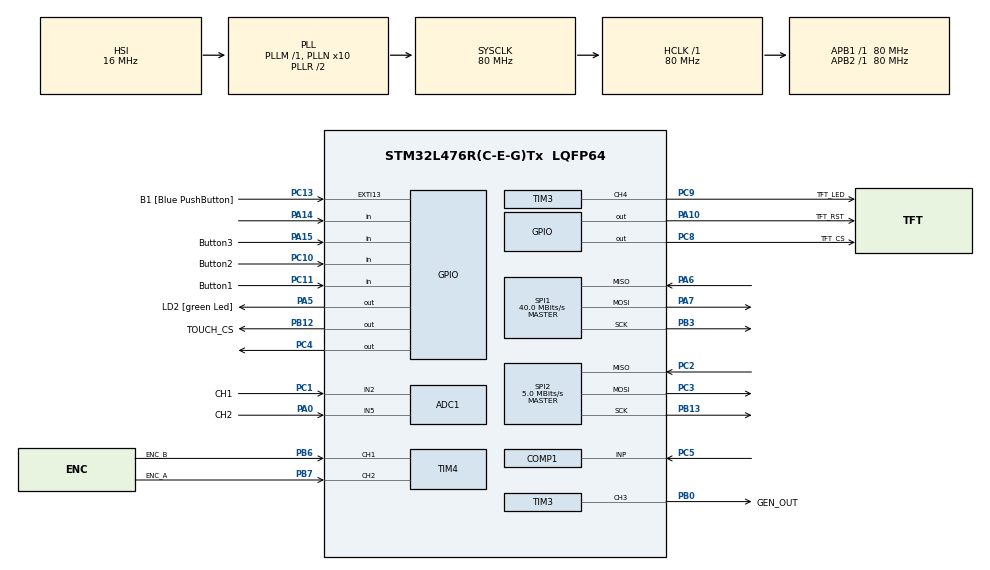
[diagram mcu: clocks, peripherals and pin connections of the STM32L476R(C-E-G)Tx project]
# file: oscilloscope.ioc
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ADC1.Channel-2\#ChannelRegularConversion=ADC_CHANNEL_2
ADC1.ClockPrescaler=ADC_CLOCK_ASYNC_DIV1
ADC1.ContinuousConvMode=ENABLE
ADC1.DMAContinuousRequests=ENABLE
ADC1.NbrOfConversionFlag=1
ADC1.OffsetNumber-2\#ChannelRegularConversion=ADC_OFFSET_NONE
ADC1.Rank-2\#ChannelRegularConversion=1
ADC1.SamplingTime-2\#ChannelRegularConversion=ADC_SAMPLETIME_2CYCLES_5
ADC1.master=1
COMP1.TriggerMode=COMP_TRIGGERMODE_IT_RISING
Dma.ADC1.1.Direction=DMA_PERIPH_TO_MEMORY
Dma.ADC1.1.Instance=DMA2_Channel3
Dma.ADC1.1.MemDataAlignment=DMA_MDATAALIGN_HALFWORD
Dma.ADC1.1.MemInc=DMA_MINC_ENABLE
Dma.ADC1.1.Mode=DMA_CIRCULAR
Dma.ADC1.1.PeriphDataAlignment=DMA_PDATAALIGN_HALFWORD
Dma.ADC1.1.PeriphInc=DMA_PINC_DISABLE
Dma.ADC1.1.Priority=DMA_PRIORITY_LOW
Dma.Request0=SPI1_TX
Dma.Request1=ADC1
Dma.SPI1_TX.0.Direction=DMA_MEMORY_TO_PERIPH
Dma.SPI1_TX.0.Instance=DMA1_Channel3
Dma.SPI1_TX.0.MemDataAlignment=DMA_MDATAALIGN_BYTE
Dma.SPI1_TX.0.MemInc=DMA_MINC_ENABLE
Dma.SPI1_TX.0.Mode=DMA_NORMAL
Dma.SPI1_TX.0.PeriphDataAlignment=DMA_PDATAALIGN_BYTE
Dma.SPI1_TX.0.PeriphInc=DMA_PINC_DISABLE
Dma.SPI1_TX.0.Priority=DMA_PRIORITY_LOW
Mcu.Family=STM32L4
Mcu.Name=STM32L476R(C-E-G)Tx
Mcu.Package=LQFP64
NVIC.COMP_IRQn=true\:0\:0\:false\:false\:true\:false\:true
NVIC.DMA1_Channel3_IRQn=true\:0\:0\:false\:false\:true\:false\:true
NVIC.DMA2_Channel3_IRQn=true\:0\:0\:false\:false\:true\:false\:true
NVIC.PriorityGroup=NVIC_PRIORITYGROUP_4
NVIC.SPI1_IRQn=true\:0\:0\:false\:false\:true\:true\:true
PA0.GPIO_Label=CH2
PA0.Signal=ADCx_IN5
PA10.GPIO_Label=TFT_RST
PA10.GPIO_Speed=GPIO_SPEED_FREQ_VERY_HIGH
PA10.Signal=GPIO_Output
PA14\ (JTCK-SWCLK).Signal=GPIO_Input
PA15\ (JTDI).GPIO_Label=Button3
PA15\ (JTDI).Signal=GPIO_Input
PA5.GPIO_Label=LD2 [green Led]
PA5.GPIO_ModeDefaultOutputPP=GPIO_MODE_OUTPUT_PP
PA5.GPIO_PuPd=GPIO_NOPULL
PA5.GPIO_Speed=GPIO_SPEED_FREQ_LOW
PA5.Signal=GPIO_Output
PA6.Mode=Full_Duplex_Master
PA6.Signal=SPI1_MISO
PA7.Mode=Full_Duplex_Master
PA7.Signal=SPI1_MOSI
PB0.GPIO_Label=GEN_OUT
PB0.Signal=S_TIM3_CH3
PB12.GPIO_Label=TOUCH_CS
PB12.Signal=GPIO_Output
PB13.Mode=Full_Duplex_Master
PB13.Signal=SPI2_SCK
PB3\ (JTDO-TRACESWO).Mode=Full_Duplex_Master
PB3\ (JTDO-TRACESWO).Signal=SPI1_SCK
PB6.GPIO_Label=ENC_B
PB6.Signal=S_TIM4_CH1
PB7.GPIO_Label=ENC_A
PB7.Signal=S_TIM4_CH2
PC1.GPIO_Label=CH1
PC1.Signal=ADCx_IN2
PC10.GPIO_Label=Button2
PC10.Signal=GPIO_Input
PC11.GPIO_Label=Button1
PC11.Signal=GPIO_Input
PC13.GPIO_Label=B1 [Blue PushButton]
PC13.GPIO_ModeDefaultEXTI=GPIO_MODE_IT_FALLING
PC13.GPIO_PuPd=GPIO_NOPULL
PC13.Signal=GPXTI13
PC2.Mode=Full_Duplex_Master
PC2.Signal=SPI2_MISO
PC3.Mode=Full_Duplex_Master
PC3.Signal=SPI2_MOSI
PC4.Signal=GPIO_Output
PC5.Mode=INP
PC5.Signal=COMP1_INP
PC8.GPIO_Label=TFT_CS
PC8.GPIO_Speed=GPIO_SPEED_FREQ_VERY_HIGH
PC8.Signal=GPIO_Output
PC9.GPIO_Label=TFT_LED
PC9.Signal=S_TIM3_CH4
ProjectManager.HeapSize=0x200
ProjectManager.StackSize=0x400
ProjectManager.TargetToolchain=STM32CubeIDE
RCC.ADCFreq_Value=64000000
RCC.AHBFreq_Value=80000000
RCC.APB1Freq_Value=80000000
RCC.APB1TimFreq_Value=80000000
RCC.APB2Freq_Value=80000000
RCC.APB2TimFreq_Value=80000000
RCC.CortexFreq_Value=80000000
RCC.HCLKFreq_Value=80000000
RCC.HSE_VALUE=8000000
RCC.HSI_VALUE=16000000
RCC.LSE_VALUE=32768
RCC.MSI_VALUE=4000000
RCC.PLLN=10
RCC.PLLSourceVirtual=RCC_PLLSOURCE_HSI
RCC.PREFETCH_ENABLE=1
RCC.SYSCLKFreq_VALUE=80000000
RCC.SYSCLKSource=RCC_SYSCLKSOURCE_PLLCLK
RCC.USBFreq_Value=64000000
RCC.VCOOutputFreq_Value=160000000
SH.ADCx_IN2.0=ADC1_IN2,IN2-Single-Ended
SH.ADCx_IN5.0=ADC1_IN5,IN5-Single-Ended
SH.S_TIM3_CH3.0=TIM3_CH3,PWM Generation3 CH3
SH.S_TIM3_CH4.0=TIM3_CH4,PWM Generation4 CH4
SH.S_TIM4_CH1.0=TIM4_CH1,Encoder_Interface
SH.S_TIM4_CH2.0=TIM4_CH2,Encoder_Interface
SPI1.BaudRatePrescaler=SPI_BAUDRATEPRESCALER_2
SPI1.CalculateBaudRate=40.0 MBits/s
SPI1.DataSize=SPI_DATASIZE_8BIT
SPI1.Direction=SPI_DIRECTION_2LINES
SPI1.Mode=SPI_MODE_MASTER
SPI1.VirtualType=VM_MASTER
SPI2.BaudRatePrescaler=SPI_BAUDRATEPRESCALER_16
SPI2.CalculateBaudRate=5.0 MBits/s
SPI2.DataSize=SPI_DATASIZE_8BIT
SPI2.Direction=SPI_DIRECTION_2LINES
SPI2.Mode=SPI_MODE_MASTER
SPI2.VirtualType=VM_MASTER
TIM3.AutoReloadPreload=TIM_AUTORELOAD_PRELOAD_ENABLE
TIM3.Channel-PWM\ Generation3\ CH3=TIM_CHANNEL_3
TIM3.Channel-PWM\ Generation4\ CH4=TIM_CHANNEL_4
TIM3.Period=999
TIM3.Prescaler=79
VP_COMP1_VS_DACOUT1.Mode=INM_DACOUT1
VP_DAC1_VS_DACI1.Mode=DAC_OUT1_Int
board=NUCLEO-L476RG

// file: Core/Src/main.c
/* USER CODE BEGIN Header */
/**
  ******************************************************************************
  * @file           : main.c
  * @brief          : Main program body
  ******************************************************************************
  * @attention
  *
  * <h2><center>&copy; Copyright (c) 2024 STMicroelectronics.
  * All rights reserved.</center></h2>
  *
  * This software component is licensed by ST under BSD 3-Clause license,
  * the "License"; You may not use this file except in compliance with the
  * License. You may obtain a copy of the License at:
  *                        opensource.org/licenses/BSD-3-Clause
  *
  ******************************************************************************
  */
/* USER CODE END Header */
#include "main.h"
#include "adc.h"
#include "comp.h"
#include "dac.h"
#include "dma.h"
#include "spi.h"
#include "tim.h"
#include "gpio.h"

/* USER CODE BEGIN Includes */
#include "ili9488.h"
#include "xpt2046.h"
#include "stdio.h"

#include "008_Open_Sans_Bold.h"
#include "009_Open_Sans_Bold.h"
#include "010_Open_Sans_Bold.h"
#include "012_Open_Sans_Bold.h"
#include "014_Open_Sans_Bold.h"
#include "016_Open_Sans_Bold.h"
#include "018_Open_Sans_Bold.h"
#include "020_Open_Sans_Bold.h"
#include "022_Open_Sans_Bold.h"
#include "024_Open_Sans_Bold.h"
#include "026_Open_Sans_Bold.h"
#include "028_Open_Sans_Bold.h"
#include "036_Open_Sans_Bold.h"
#include "048_Open_Sans_Bold.h"
#include "072_Open_Sans_Bold.h"
#include "096_Open_Sans_Bold.h"
#include "112_Open_Sans_Bold.h"
#include "128_Open_Sans_Bold.h"
/* USER CODE END Includes */

/* USER CODE BEGIN PD */
#define _Open_Sans_Bold_8      &Open_Sans_Bold_8
#define _Open_Sans_Bold_9      &Open_Sans_Bold_9
#define _Open_Sans_Bold_10     &Open_Sans_Bold_10
#define _Open_Sans_Bold_11     &Open_Sans_Bold_11
#define _Open_Sans_Bold_12      &Open_Sans_Bold_12
#define _Open_Sans_Bold_14      &Open_Sans_Bold_14
#define _Open_Sans_Bold_16      &Open_Sans_Bold_16
#define _Open_Sans_Bold_18      &Open_Sans_Bold_18
#define _Open_Sans_Bold_20      &Open_Sans_Bold_20
#define _Open_Sans_Bold_22      &Open_Sans_Bold_22
#define _Open_Sans_Bold_24      &Open_Sans_Bold_24
#define _Open_Sans_Bold_26      &Open_Sans_Bold_26
#define _Open_Sans_Bold_28      &Open_Sans_Bold_28
#define _Open_Sans_Bold_36      &Open_Sans_Bold_36
#define _Open_Sans_Bold_48      &Open_Sans_Bold_48
#define _Open_Sans_Bold_72      &Open_Sans_Bold_72
#define _Open_Sans_Bold_96      &Open_Sans_Bold_96
#define _Open_Sans_Bold_112      &Open_Sans_Bold_112
#define _Open_Sans_Bold_128      &Open_Sans_Bold_128

#define LCD_WIDTH 480
#define LCD_HEIGHT 320
#define LCD_BRIGHTNESS 800 // 0-1000

#define CANVA_MIDDLE_V 170

#define MEMORY_DEPTH  480//512
/* USER CODE END PD */

/* USER CODE BEGIN PV */
volatile uint8_t SPI1_TX_completed_flag = 1;

typedef struct oscilloscope_ch{
	uint16_t waveform[MEMORY_DEPTH];				// all samples

	int16_t x_offset;								// horizontal offset
	int16_t y_offset;								// vertical offset (offset = 0 => 0V = middle of the display)

	int16_t y_scale;								// vertical scale [V/div]

	uint16_t waveform_display[LCD_WIDTH];			// section of waveform currently displayed
	uint16_t waveform_display_previous[LCD_WIDTH];	// section of waveform previously displayed, used to clear old waveform

}oscilloscope_channel;

static int conv_done = 0;

//uint8_t  image [90000];
/* USER CODE END PV */

void SystemClock_Config(void);

/* USER CODE BEGIN 0 */
void HAL_SPI_TxCpltCallback(SPI_HandleTypeDef *hspi)
{
	SPI1_TX_completed_flag = 1;
}

oscilloscope_channel_init(oscilloscope_channel* ch){
	ch->x_offset = 0;
	ch->y_offset = 0;
	ch->y_scale = 0;
}

void drawGrid(){
	// vertical lines
	for(int i = 0; i < 480; i+=60){
		for(int j = 20; j < 320; j+=2)
			drawPixel(i, j, ILI9488_DARKGREY);
	}
	for(int j = 20; j < 320; j+=2)
				drawPixel(479, j, ILI9488_DARKGREY);

	// horizontal lines
	for(int i = 20; i < 320; i+=60){
		for(int j = 0; j < 480; j+=2)
			drawPixel(j, i, ILI9488_DARKGREY);
	}
	for(int j = 0; j < 480; j+=2)
				drawPixel(j, 319, ILI9488_DARKGREY);
}

void erase_waveform(uint16_t waveform[MEMORY_DEPTH], uint x){
	for(int i = 0; i < 480; ++i){
			drawPixel(i, CANVA_MIDDLE_V - x - waveform[i]/40, BLACK);
		if((i%2==0) || (i ==479)){
			if(((CANVA_MIDDLE_V - x - waveform[i]/40) == 20) ||
			   ((CANVA_MIDDLE_V - x - waveform[i]/40) == 80) ||
			   ((CANVA_MIDDLE_V - x - waveform[i]/40) == 140) ||
			   ((CANVA_MIDDLE_V - x - waveform[i]/40) == 200) ||
			   ((CANVA_MIDDLE_V - x - waveform[i]/40) == 260) ||
			   ((CANVA_MIDDLE_V - x - waveform[i]/40) == 319)){
				drawPixel(i, CANVA_MIDDLE_V - x - waveform[i]/40, ILI9488_DARKGREY);
			}
		}
		if((i%60==0) || (i ==479)){
			if(((LCD_HEIGHT/2 - x - waveform[i]/40) % 2) == 0){
				drawPixel(i, CANVA_MIDDLE_V - x - waveform[i]/40, ILI9488_DARKGREY);
			}
		}
	  }
}

void draw_waveform(oscilloscope_channel* ch){
	erase_waveform(ch->waveform_display_previous, ch->x_offset);

	for(int i = 0; i < 480; ++i){
		ch->waveform_display[i] = ch->waveform[i];
		drawPixel(i, CANVA_MIDDLE_V - ch->x_offset - ch->waveform_display[i]/40, GREEN);
		ch->waveform_display_previous[i] = ch->waveform_display[i];
	}

	// draw marker 0
	for(int j = 0; j < 5; ++j){
		drawPixel(j, CANVA_MIDDLE_V - ch->x_offset - 2, GREEN);
	}
	for(int j = 0; j < 6; ++j){
		drawPixel(j, CANVA_MIDDLE_V - ch->x_offset - 1, GREEN);
	}
	for(int j = 0; j < 7; ++j){
		drawPixel(j, CANVA_MIDDLE_V - ch->x_offset, GREEN);
	}
	for(int j = 0; j < 6; ++j){
		drawPixel(j, CANVA_MIDDLE_V - ch->x_offset + 1, GREEN);
	}
	for(int j = 0; j < 5; ++j){
			drawPixel(j, CANVA_MIDDLE_V - ch->x_offset + 2, GREEN);
	}
}

int calculate_peak_to_peak(int16_t waveform[MEMORY_DEPTH]){
	uint32_t max=0, min=4096;
	for(int i = 0; i < MEMORY_DEPTH; ++i){
		if(waveform[i]<min)
			min=waveform[i];
		if(waveform[i]>max)
			max=waveform[i];
	}
	return max-min;
}

int calculate_RMS(int16_t waveform[MEMORY_DEPTH]) {
    int64_t sum_of_squares = 0;
    for (int i = 0; i < MEMORY_DEPTH; ++i) {
        sum_of_squares += (int32_t)waveform[i] * waveform[i];
    }
    double mean_of_squares = (double)sum_of_squares / MEMORY_DEPTH;
    double rms = sqrt(mean_of_squares);
    return (int)rms;
}
/* USER CODE END 0 */

int main(void)
{
  /* USER CODE BEGIN 1 */
  oscilloscope_channel CH1;
  oscilloscope_channel_init(&CH1);

  char buf[20];						// buffer for measurements to be displayed
  /* USER CODE END 1 */

  /* MCU Configuration--------------------------------------------------------*/

  /* Reset of all peripherals, Initializes the Flash interface and the Systick. */
  HAL_Init();

  /* Configure the system clock */
  SystemClock_Config();

  /* Initialize all configured peripherals */
  MX_GPIO_Init();
  MX_DMA_Init();
  MX_SPI1_Init();
  MX_SPI2_Init();
  MX_TIM3_Init();
  MX_ADC1_Init();
  MX_TIM4_Init();
  MX_COMP1_Init();
  MX_DAC1_Init();
  /* USER CODE BEGIN 2 */
  //HAL_ADC_Start_DMA(&hadc1, (uint32_t*) CH1.waveform , MEMORY_DEPTH);
  HAL_TIM_PWM_Start(&htim3, TIM_CHANNEL_4);
  HAL_TIM_PWM_Start(&htim3, TIM_CHANNEL_3);
  __HAL_TIM_SET_COMPARE(&htim3, TIM_CHANNEL_4, LCD_BRIGHTNESS); // 0-1000
  __HAL_TIM_SET_COMPARE(&htim3, TIM_CHANNEL_3, 200); // 0-1000
  ILI9488_Init();
  setRotation(1);
  ILI9341_Fill_Screen(ILI9488_BLACK);
  drawGrid();

  setAddrWindow(463, 1, 463+13-1, 1+18-1);
  ILI9341_Draw_Colour_Burst(YELLOW, 35 * 18);
  LCD_Font(466, 15, "2", _Open_Sans_Bold_12  , 1, BLACK);

  HAL_Delay(500);

  setAddrWindow(463, 1, 463+13-1, 1+18-1);
  ILI9341_Draw_Colour_Burst(GREEN, 35 * 18);
  LCD_Font(440, 15, "Ch:", _Open_Sans_Bold_12  , 1, WHITE);
  LCD_Font(466, 15, "1", _Open_Sans_Bold_12  , 1, BLACK);

  //uint16_t touchX = 0, touchY = 0;
  /*for(int i = 0; i < 90000; ++i){
	  image[i] = 0xF;
	  ++i;
	  image[i] = 0xA;
  }

  /* USER CODE END 2 */

  /* Infinite loop */
  /* USER CODE BEGIN WHILE */
  int faza = 0;
  while (1)
  {
	  /*//test drawing method speed
	  fillRect(0, 0, 480, 320, RED);
	  ILI9341_Fill_Screen(ILI9488_BLACK);
	  for(int i = 0; i < 480; i+=1){
	  		for(int j = 0; j < 320; j+=1)
	  			drawPixel(i, j, ILI9488_DARKGREY);
	  	}
	  	*/
	  /*
	  drawImage(image, 10, 10, 300, 150);
	  HAL_Delay(1000);
	  setAddrWindow(10, 10, 10+300-1, 10+150-1);
	  ILI9341_Draw_Colour_Burst(RED, 300 * 150);
	  HAL_Delay(1000);
	  */

	  for(int i = 0; i < 480; ++i){
	  	CH1.waveform[i] = 2000*sin(0.05*i + faza*0.1) + 2000;
	    }
	  faza++;
	  draw_waveform(& CH1);

	  sprintf(buf,"Vpp=%d", calculate_peak_to_peak(CH1.waveform));
	  setAddrWindow(39, 1, 39+35-1, 1+18-1);
	  ILI9341_Draw_Colour_Burst(RED, 35 * 18);
	  LCD_Font(5, 15, buf, _Open_Sans_Bold_12  , 1, WHITE);

	  sprintf(buf,"Vrms=%d", calculate_RMS(CH1.waveform));
	  setAddrWindow(122, 1, 122+35-1, 1+18-1);
	  ILI9341_Draw_Colour_Burst(RED, 35 * 18);
	  LCD_Font(80, 15, buf, _Open_Sans_Bold_12  , 1, WHITE);
	  //HAL_Delay(1);

/*
	  //ILI9341_Fill_Screen(ILI9488_BLACK);
	  //drawImage(image, 10, 10, 200, 1);
	  if(conv_done){
		  conv_done = 0;
		  draw_waveform(& CH1);
		  //HAL_Delay(500);
		  sprintf(buf1,"Vpp=%d", calculate_peak_to_peak(CH1.waveform_display));
		  fillRect(39, 1, 35, 18, RED);
		  LCD_Font(5, 15, buf1, _Open_Sans_Bold_12  , 1, WHITE);
		  HAL_ADC_Start_DMA(&hadc1, (uint32_t*) CH1.waveform, MEMORY_DEPTH);
		  //HAL_Delay(1);
	  }

	  //CODE FOR DMA
	  /*
	  ILI9341_Fill_Screen(ILI9488_GREEN);
	  LCD_Font(20, 100, "ISMAIL", _Open_Sans_Bold_112  , 1, WHITE);
	  LCD_Font(10, 250, "STM32", _Open_Sans_Bold_112  , 1, WHITE);HAL_Delay(1000);
	  ILI9341_Fill_Screen(ILI9488_BLUE);
	  LCD_Font(20, 100, "ISMAIL", _Open_Sans_Bold_112  , 1, WHITE);
	  LCD_Font(10, 250, "STM32", _Open_Sans_Bold_112  , 1, WHITE);
	  HAL_Delay(1000);

	  */
	  //    CODE FOR TOUCH
	  /*
	  //char buf[20];
	  //LCD_Font(25, 25, buf1, _Open_Sans_Bold_24  , 1, WHITE);
	  touchX = getX();
	  touchY = getY();
	  //sprintf(buf,"x=%3d y=%3d",touchX,touchY);
	  //sprintf(buf1,"x=%3d y=%3d",touchX,touchY);
	  //LCD_Font(25, 25, buf, _Open_Sans_Bold_24  , 1, BLACK);
	  fillRect(touchX, touchY,7,7, RED);
	  */
    /* USER CODE END WHILE */

  }
}

void SystemClock_Config(void)
{
  RCC_OscInitTypeDef RCC_OscInitStruct = {0};
  RCC_ClkInitTypeDef RCC_ClkInitStruct = {0};
  RCC_PeriphCLKInitTypeDef PeriphClkInit = {0};

  /** Initializes the RCC Oscillators according to the specified parameters
  * in the RCC_OscInitTypeDef structure.
  */
  RCC_OscInitStruct.OscillatorType = RCC_OSCILLATORTYPE_HSI;
  RCC_OscInitStruct.HSIState = RCC_HSI_ON;
  RCC_OscInitStruct.HSICalibrationValue = RCC_HSICALIBRATION_DEFAULT;
  RCC_OscInitStruct.PLL.PLLState = RCC_PLL_ON;
  RCC_OscInitStruct.PLL.PLLSource = RCC_PLLSOURCE_HSI;
  RCC_OscInitStruct.PLL.PLLM = 1;
  RCC_OscInitStruct.PLL.PLLN = 10;
  RCC_OscInitStruct.PLL.PLLP = RCC_PLLP_DIV7;
  RCC_OscInitStruct.PLL.PLLQ = RCC_PLLQ_DIV2;
  RCC_OscInitStruct.PLL.PLLR = RCC_PLLR_DIV2;
  if (HAL_RCC_OscConfig(&RCC_OscInitStruct) != HAL_OK)
  {
    Error_Handler();
  }
  /** Initializes the CPU, AHB and APB buses clocks
  */
  RCC_ClkInitStruct.ClockType = RCC_CLOCKTYPE_HCLK|RCC_CLOCKTYPE_SYSCLK
                              |RCC_CLOCKTYPE_PCLK1|RCC_CLOCKTYPE_PCLK2;
  RCC_ClkInitStruct.SYSCLKSource = RCC_SYSCLKSOURCE_PLLCLK;
  RCC_ClkInitStruct.AHBCLKDivider = RCC_SYSCLK_DIV1;
  RCC_ClkInitStruct.APB1CLKDivider = RCC_HCLK_DIV1;
  RCC_ClkInitStruct.APB2CLKDivider = RCC_HCLK_DIV1;

  if (HAL_RCC_ClockConfig(&RCC_ClkInitStruct, FLASH_LATENCY_4) != HAL_OK)
  {
    Error_Handler();
  }
  PeriphClkInit.PeriphClockSelection = RCC_PERIPHCLK_ADC;
  PeriphClkInit.AdcClockSelection = RCC_ADCCLKSOURCE_PLLSAI1;
  PeriphClkInit.PLLSAI1.PLLSAI1Source = RCC_PLLSOURCE_HSI;
  PeriphClkInit.PLLSAI1.PLLSAI1M = 1;
  PeriphClkInit.PLLSAI1.PLLSAI1N = 8;
  PeriphClkInit.PLLSAI1.PLLSAI1P = RCC_PLLP_DIV7;
  PeriphClkInit.PLLSAI1.PLLSAI1Q = RCC_PLLQ_DIV2;
  PeriphClkInit.PLLSAI1.PLLSAI1R = RCC_PLLR_DIV2;
  PeriphClkInit.PLLSAI1.PLLSAI1ClockOut = RCC_PLLSAI1_ADC1CLK;
  if (HAL_RCCEx_PeriphCLKConfig(&PeriphClkInit) != HAL_OK)
  {
    Error_Handler();
  }
  /** Configure the main internal regulator output voltage
  */
  if (HAL_PWREx_ControlVoltageScaling(PWR_REGULATOR_VOLTAGE_SCALE1) != HAL_OK)
  {
    Error_Handler();
  }
}

/* USER CODE BEGIN 4 */
void HAL_ADC_ConvCpltCallback(ADC_HandleTypeDef* hadc){
	conv_done = 1;
	HAL_ADC_Stop_DMA(hadc);
}
/* USER CODE END 4 */

void Error_Handler(void)
{
}

/************************ (C) COPYRIGHT STMicroelectronics *****END OF FILE****/
